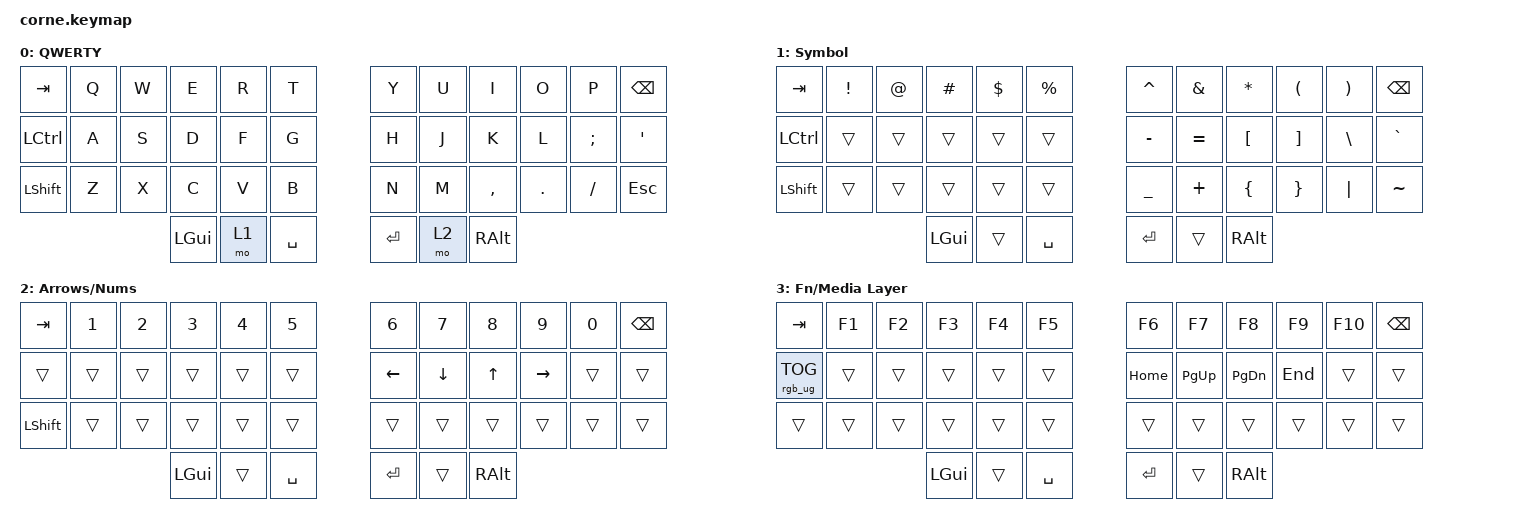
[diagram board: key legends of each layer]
/*
 * Corne keymap — corrected devicetree root + ws2812 node
 */

#include <behaviors.dtsi>
#include <dt-bindings/zmk/keys.h>
#include <dt-bindings/zmk/rgb.h>
#include <dt-bindings/led/led.h>

/ {
    led_strip {
        chain-length = <27>;
    };

    rgb_led: ws2812 {
        compatible = "worldsemi,ws2812-gpio";
        status = "okay";
        chain-length = <27>;
        color-mapping = <LED_COLOR_ID_GREEN LED_COLOR_ID_RED LED_COLOR_ID_BLUE>;
        in-gpios = <&gpio0 6 0>;
    };

    chosen {
        zephyr,led-strip = &rgb_led;
    };

    keymap {
        compatible = "zmk,keymap";

        default_layer {
            display-name = "QWERTY";
            bindings = <
   &kp TAB   &kp Q &kp W &kp E &kp R &kp T   &kp Y &kp U  &kp I     &kp O   &kp P    &kp BSPC
   &kp LCTRL &kp A &kp S &kp D &kp F &kp G   &kp H &kp J  &kp K     &kp L   &kp SEMI &kp SQT
   &kp LSHFT &kp Z &kp X &kp C &kp V &kp B   &kp N &kp M  &kp COMMA &kp DOT &kp FSLH &kp ESC
                  &kp LGUI &mo 1 &kp SPACE   &kp RET &mo 2 &kp RALT
            >;
        };

        raise_layer {
            display-name = "Symbol";
            bindings = <
   &kp  TAB  &kp EXCL &kp AT &kp HASH &kp DLLR &kp PRCNT   &kp CARET &kp AMPS  &kp ASTRK &kp LPAR &kp RPAR &kp BSPC
   &kp LCTRL &trans   &trans &trans   &trans   &trans      &kp MINUS &kp EQUAL &kp LBKT  &kp RBKT &kp BSLH &kp GRAVE
   &kp LSHFT &trans   &trans &trans   &trans   &trans      &kp UNDER &kp PLUS  &kp LBRC  &kp RBRC &kp PIPE &kp TILDE
                             &kp LGUI &trans   &kp SPACE   &kp RET   &trans    &kp RALT
            >;
        };

        lower_layer {
            display-name = "Arrows/Nums";
            bindings = <
   &kp TAB    &kp N1       &kp N2       &kp N3       &kp N4       &kp N5         &kp N6   &kp N7   &kp N8 &kp N9    &kp N0 &kp BSPC
   &trans     &trans       &trans       &trans       &trans       &trans         &kp LEFT &kp DOWN &kp UP &kp RIGHT &trans &trans
   &kp LSHFT  &trans       &trans       &trans       &trans       &trans         &trans   &trans   &trans &trans    &trans &trans
                                        &kp LGUI     &trans       &kp SPACE      &kp RET  &trans   &kp RALT
            >;
        };

        fn_layer {
            display-name = "Fn/Media Layer";
            bindings = <
   &kp TAB         &kp F1      &kp F2   &kp F3   &kp F4   &kp F5    &kp F6   &kp F7    &kp F8     &kp F9   &kp F10 &kp BSPC
   &rgb_ug RGB_TOG &trans      &trans   &trans   &trans   &trans    &kp HOME &kp PG_UP &kp PG_DN  &kp END  &trans  &trans
   &trans          &trans      &trans   &trans   &trans   &trans    &trans   &trans    &trans     &trans   &trans  &trans
                                        &kp LGUI &trans   &kp SPACE &kp RET  &trans    &kp RALT
            >;
        };
    };
};
